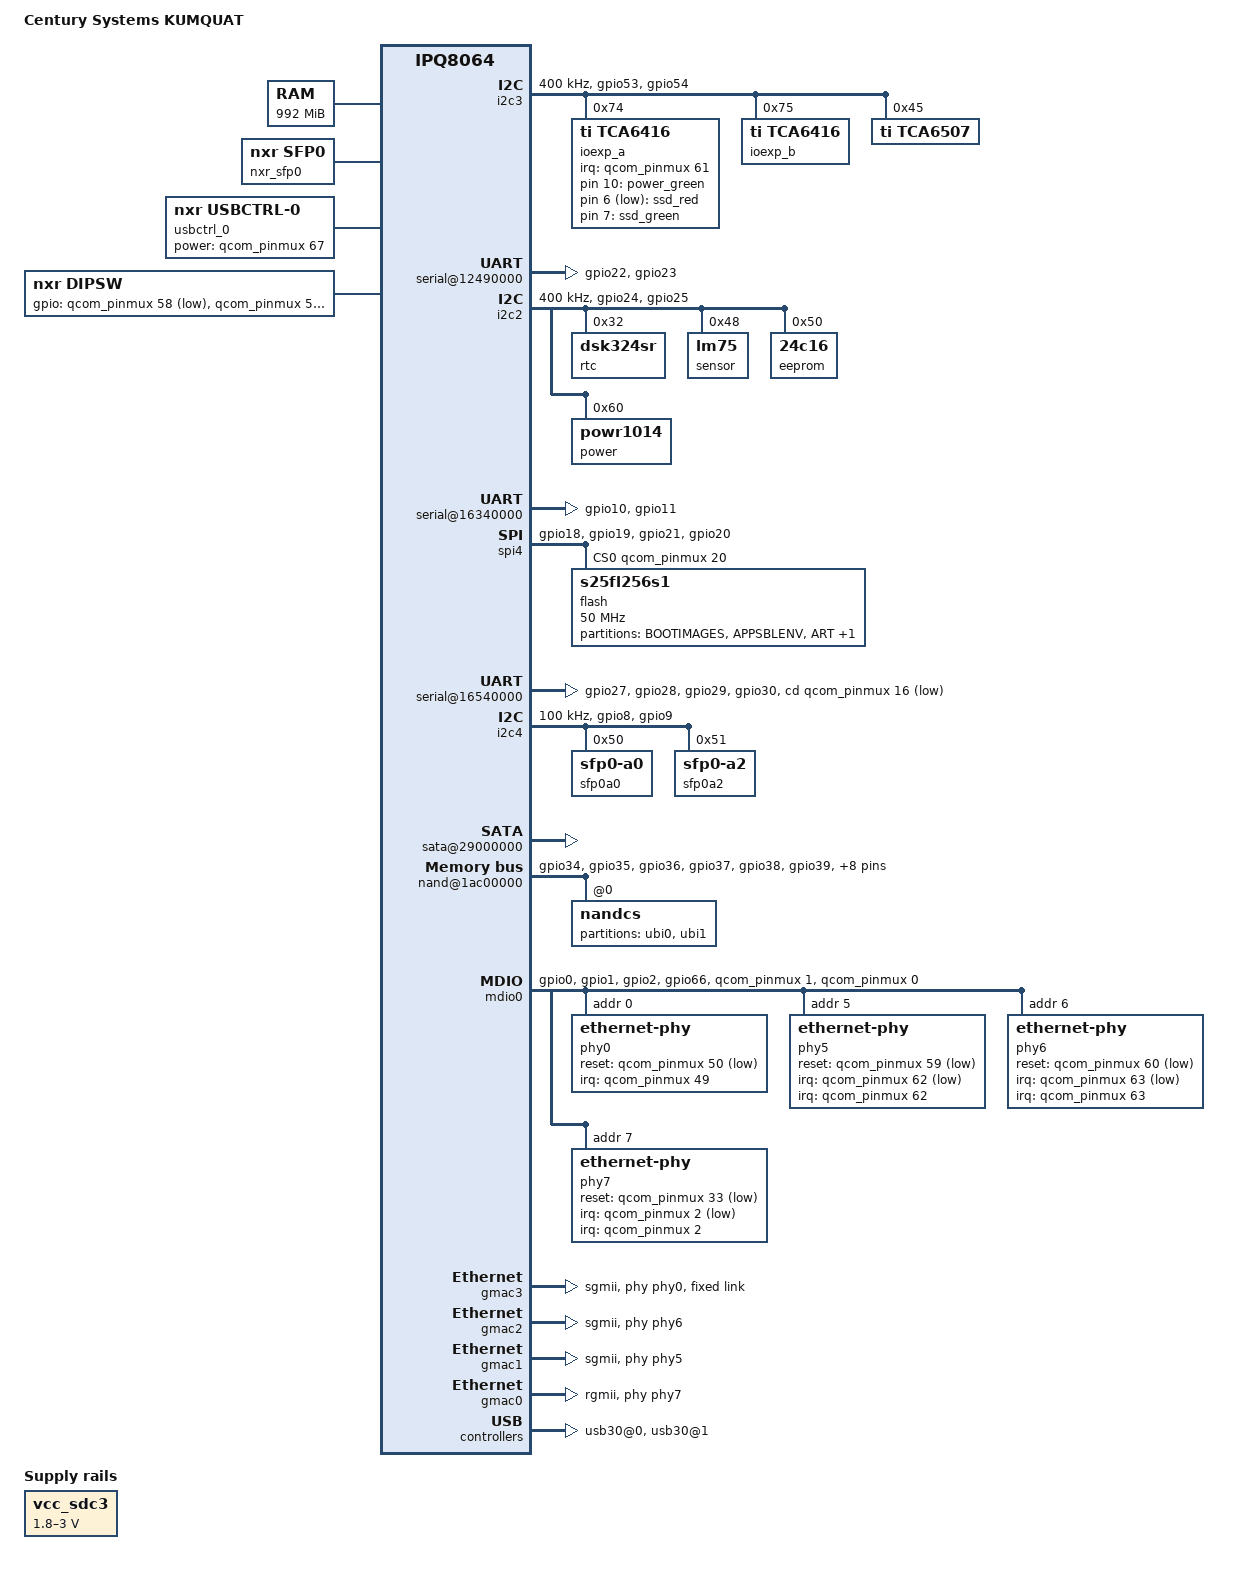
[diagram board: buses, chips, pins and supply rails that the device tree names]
/* Copyright (c) 2015, 2016 The Linux Foundation. All rights reserved.
 *
 * Permission to use, copy, modify, and/or distribute this software for any
 * purpose with or without fee is hereby granted, provided that the above
 * copyright notice and this permission notice appear in all copies.
 *
 * THE SOFTWARE IS PROVIDED "AS IS" AND THE AUTHOR DISCLAIMS ALL WARRANTIES
 * WITH REGARD TO THIS SOFTWARE INCLUDING ALL IMPLIED WARRANTIES OF
 * MERCHANTABILITY AND FITNESS. IN NO EVENT SHALL THE AUTHOR BE LIABLE FOR
 * ANY SPECIAL, DIRECT, INDIRECT, OR CONSEQUENTIAL DAMAGES OR ANY DAMAGES
 * WHATSOEVER RESULTING FROM LOSS OF USE, DATA OR PROFITS, WHETHER IN AN
 * ACTION OF CONTRACT, NEGLIGENCE OR OTHER TORTIOUS ACTION, ARISING OUT OF
 * OR IN CONNECTION WITH THE USE OR PERFORMANCE OF THIS SOFTWARE.
 *
 */
#include <dt-bindings/interrupt-controller/arm-gic.h>
#include <dt-bindings/interrupt-controller/irq.h>
#include <dt-bindings/input/input.h>
#include <dt-bindings/gpio/gpio.h>

/ {
	model = "Century Systems KUMQUAT";
	compatible = "qcom,ipq8064-ap148", "qcom,ipq8064";

	aliases {
		mdio-gpio0 = &mdio0;
		/*
		 * U-Boot searches for these entries and patches
		 * 'local-mac-address'
		 */
		ethernet0 = &gmac3;
		ethernet1 = &gmac2;
		ethernet2 = &gmac1;
		ethernet3 = &gmac0;
	};

	memory@0 {
		reg = <0x42000000 0x3e000000>;
		device_type = "memory";
	};

	reserved-memory {
		#address-cells = <1>;
		#size-cells = <1>;
		ranges;
		rsvd@41200000 {
			reg = <0x41200000 0x300000>;
			no-map;
		};
	};

	soc {
		pinmux@800000 {
			spi_pins: spi_pins {
				mux {
					pins = "gpio18", "gpio19", "gpio21";
					function = "gsbi5";
					drive-strength = <10>;
					bias-none;
				};
				cs {
					pins = "gpio20";
					drive-strength = <12>;
				};
			};

			uart1_pins: uart1_pinmux {
				mux {
					pins = "gpio22", "gpio23";
					function = "gsbi2";
					drive-strength = <2>;
					bias-disable;
				};
			};

			uart2_pins: uart2_pinmux {
				mux {
					pins = "gpio10", "gpio11";
					function = "gsbi4";
					drive-strength = <2>;
					bias-disable;
				};
			};

			uart3_pins: uart3_pinmux {
				mux {
					pins = "gpio27", "gpio28", "gpio29", "gpio30";
					function = "gsbi6";
					drive-strength = <2>;
					bias-disable;
				};
			};

			i2c2_pins: i2c2_pinmux {
				mux {
					pins = "gpio24", "gpio25";
					function = "gsbi2";
					drive-strength = <2>;
					bias-disable;
				};
			};

			i2c3_pins: i2c3_pinmux {
				mux {
					pins = "gpio53", "gpio54";
					function = "gsbi1";
					drive-strength = <2>;
					bias-disable;
				};
			};

			i2c4_pins: i2c4_pinmux {
				mux {
					pins = "gpio8", "gpio9";
					function = "gsbi7";
					drive-strength = <2>;
					bias-disable;
				};
			};

			nand_pins: nand_pins {
				mux {
					pins = "gpio34", "gpio35", "gpio36",
						"gpio37", "gpio38", "gpio39",
						"gpio40", "gpio41", "gpio42",
						"gpio43", "gpio44", "gpio45",
						"gpio46", "gpio47";
					function = "nand";
					drive-strength = <10>;
					bias-disable;
				};
				pullups {
					pins = "gpio39";
					bias-pull-up;
				};
				hold {
					pins = "gpio40", "gpio41", "gpio42",
						"gpio43", "gpio44", "gpio45",
						"gpio46", "gpio47";
					bias-bus-hold;
				};
			};

			buttons_pins: buttons_pins {
				mux {
					pins = "gpio65";
					drive-strength = <2>;
					bias-pull-up;
				};
			};

			mdio0_pins: mdio0_pins {
				mux {
					pins = "gpio0", "gpio1";
					function = "gpio";
					drive-strength = <8>;
					bias-disable;
				};
			};

			mdio1_pins: mdio1_pins {
				mux {
					pins = "gpio2", "gpio66";
					function = "gpio";
					drive-strength = <12>;
					bias-disable;
				};
			};

			sdcc3_pins: sdcc3_pinmux {
				mux {
					pins = "gpio51";
					drive-strength = <2>;
					bias-pull-down;
				};
				card_det {
					pins = "gpio52";
					drive-strength = <16>;
					bias-pull-none;
				};
			};

			usb0_pins: usb0_pins {
				mux {
					pins = "gpio67", "gpio68";
					drive-strength = <2>;
					bias-pull-up;
				};
			};
		};

		gsbi1: gsbi@12440000 {
			qcom,mode = <GSBI_PROT_I2C>;
			status = "ok";

			i2c3: i2c@12460000 {
				status = "ok";

				clock-frequency = <400000>;

				pinctrl-0 = <&i2c3_pins>;
				pinctrl-1 = <&i2c3_pins>;
				pinctrl-names = "i2c_active", "i2c_sleep";

				ioexp_a: tca9539@74 {
					compatible = "ti,tca6416";
					interrupt-parent = <&qcom_pinmux>;
					interrupts = <61 0>;
					interrupt-controller;
					#interrupt-cells = <2>;

					gpio-controller;
					#gpio-cells = <2>;
					reg = <0x74>;
				};

				ioexp_b: tca9539@75 {
					compatible = "ti,tca6416";
					/* disable interrupt
					interrupt-parent = <&qcom_pinmux>;
					interrupts = <64 0>;
					interrupt-controller;
					#interrupt-cells = <2>;
					*/

					gpio-controller;
					#gpio-cells = <2>;
					reg = <0x75>;
				};

				tca6507: tca6507@45 {
			                compatible = "ti,tca6507";
					#address-cells = <1>;
					#size-cells = <0>;
					reg = <0x45>;

					/* LEDs on Main board */
					led0: power-status-red@0 {
						label = "power_red";
						reg = <0x0>;
					};
					led1: system-status1-red@1 {
						label = "status1_red";
						reg = <0x1>;
					};
					led2: system-status2-red@2 {
						label = "status2_red";
						reg = <0x2>;
					};
					led3: system-status3-red@3 {
						label = "status3_red";
						reg = <0x3>;
					};
					led4: system-status1-green@4 {
						label = "status1_green";
						linux,default-trigger = "timer";
						reg = <0x4>;
					};
					led5: system-status2-green@5 {
						label = "status2_green";
						reg = <0x5>;
					};
					led6: system-status3-green@6 {
						label = "status3_green";
						reg = <0x6>;
					};
				};
			};
		};

		gsbi2: gsbi@12480000 {
			qcom,mode = <GSBI_PROT_I2C_UART>;
			status = "ok";
			serial@12490000 {
				status = "ok";
				pinctrl-0 = <&uart1_pins>;
				pinctrl-names = "default";
			};

			i2c2: i2c@124a0000 {
				status = "ok";

				clock-frequency = <400000>;

				pinctrl-0 = <&i2c2_pins>;
				pinctrl-1 = <&i2c2_pins>;
				pinctrl-names = "i2c_active", "i2c_sleep";

				rtc: dsk324sr@32 {
					compatible = "dsk324sr";
					reg = <0x32>;
				};

				sensor: lm75@48 {
					compatible = "lm75";
					reg = <0x48>;
				};

				eeprom: br24c16@50 {
					compatible = "24c16";
					pagesize = <16>;
					reg = <0x50>;
				};

				power: powr1014@60 {
 					compatible = "powr1014";
					reg = <0x60>;
				};
			};
		};

		gsbi4: gsbi@16300000 {
			qcom,mode = <GSBI_PROT_I2C_UART>;
			status = "ok";
			serial@16340000 {
				status = "ok";
				pinctrl-0 = <&uart2_pins>;
				pinctrl-names = "default";
			};
		};

		gsbi5: gsbi@1a200000 {
			qcom,mode = <GSBI_PROT_SPI>;
			status = "ok";

			spi4: spi@1a280000 {
				status = "ok";
				spi-max-frequency = <50000000>;

				pinctrl-0 = <&spi_pins>;
				pinctrl-names = "default";

				cs-gpios = <&qcom_pinmux 20 0>;

				dmas = <&adm_dma 6 9>,
					<&adm_dma 5 10>;
				dma-names = "rx", "tx";

				flash: m25p80@0 {
					compatible = "s25fl256s1";
					#address-cells = <1>;
					#size-cells = <1>;
					spi-max-frequency = <50000000>;
					reg = <0>;
					m25p,fast-read;

					/* MTD partition table */
					partition@0 {
						label = "BOOTIMAGES";
						reg = <0x00000000 0x00320000>;
					};

					partition@1 {
						label = "APPSBLENV";
						reg = <0x00320000 0x00360000>;
					};

					partition@2 {
						label = "ART";
						reg = <0x00360000 0x003a0000>;
					};

					partition@3 {
						label = "oops";
						reg = <0x003a0000 0x005a0000>;
					};
				};
			};
		};

		gsbi6: gsbi@16500000 {
			qcom,mode = <GSBI_PROT_I2C_UART>;
			status = "ok";
			serial@16540000 {
				status = "ok";
				pinctrl-0 = <&uart3_pins>;
				pinctrl-names = "default";

				dtr-gpios = <&qcom_pinmux 31 GPIO_ACTIVE_LOW>;
				dsr-gpios = <&qcom_pinmux 15 GPIO_ACTIVE_LOW>;
				cd-gpios = <&qcom_pinmux 16 GPIO_ACTIVE_LOW>;
				ri-gpios = <&qcom_pinmux 17 GPIO_ACTIVE_LOW>;
			};
		};

		gsbi7: gsbi@16600000 {
			qcom,mode = <GSBI_PROT_I2C>;
			status = "ok";

			i2c4: i2c@16680000 {
				#address-cells = <1>;
				#size-cells = <0>;
				status = "ok";

				clock-frequency = <100000>;

				pinctrl-0 = <&i2c4_pins>;
				pinctrl-names = "default";

				sfp0a0: sfp0@a0 {
					compatible = "sfp0-a0";
					reg = <0x50>;
				};

				sfp0a2: sfp0@a2 {
					compatible = "sfp0-a2";
					reg = <0x51>;
				};
			};
		};

		sata-phy@1b400000 {
			status = "ok";
		};

		sata@29000000 {
			ports-implemented = <0x1>;
			status = "ok";
		};

		nand@1ac00000 {
			status = "ok";

			pinctrl-0 = <&nand_pins>;
			pinctrl-names = "default";

			nandcs@0 {
				nand-ecc-strength = <8>;

				/* MTD partition table */
				partition@0 {
					reg = <0x00000000 0x10000000>;
					label = "ubi0";
				};

				partition@1 {
					reg = <0x10000000 0x06000000>;
					label = "ubi1";
				};
			};
		};

		mdio0: mdio {
			compatible = "virtual,mdio-gpio";
			#address-cells = <1>;
			#size-cells = <0>;
			gpios = <&qcom_pinmux 1 0 &qcom_pinmux 0 0>;

			pinctrl-0 = <&mdio0_pins &mdio1_pins>;
			pinctrl-names = "default";

			phy0: ethernet-phy@0 {
				device_type = "ethernet-phy";
				reg = <0>;
				reset-gpios = <&qcom_pinmux 50 1>;
				qca,ar8327-initvals = <
					0x00004 0x80        /* PAD0_MODE */
					0x000e4 0xaa545     /* MAC_POWER_SEL */
					0x000e0 0xc74164de  /* SGMII_CTRL */
					0x0007c 0x4e        /* PORT0_STATUS */
					>;
				interrupt-parent = <&qcom_pinmux>;
				#interrupt-cells = <2>;
				interrupts = <49 2>;
			};

			phy5: ethernet-phy@5 {
				device_type = "ethernet-phy";
				reg = <5>;
				reset-gpios = <&qcom_pinmux 59 1>;
				interrupt-parent = <&qcom_pinmux>;
				#interrupt-cells = <2>;
				interrupts = <62 2>;
				irq-gpio = <&qcom_pinmux 62 GPIO_ACTIVE_LOW>;
			};

			phy6: ethernet-phy@6 {
				device_type = "ethernet-phy";
				reg = <6>;
				reset-gpios = <&qcom_pinmux 60 1>;
				interrupt-parent = <&qcom_pinmux>;
				#interrupt-cells = <2>;
				interrupts = <63 2>;
				irq-gpio = <&qcom_pinmux 63 GPIO_ACTIVE_LOW>;
			};

			phy7: ethernet-phy@7 {
				device_type = "ethernet-phy";
				reg = <7>;
				reset-gpios = <&qcom_pinmux 33 1>;
				interrupt-parent = <&qcom_pinmux>;
				#interrupt-cells = <2>;
				interrupts = <2 2>;
				irq-gpio = <&qcom_pinmux 2 GPIO_ACTIVE_LOW>;
			};
		};

		vcc_sdc3: regulator@0 {
			compatible = "regulator-gpio";
			regulator-name = "SDC3 GPIO Regulator";
			regulator-min-microvolt = <1800000>;
			regulator-max-microvolt = <3000000>;

			gpios = <&qcom_pinmux 51 0>;
			states = <3000000 0
				1800000 1>;
			enable-active-high;
		};

		amba {
			/* External micro SD card */
			sdcc3: sdcc@12180000 {
				status = "ok";
				pinctrl-0 = <&sdcc3_pins>;
				pinctrl-names = "default";
				vmmc-supply = <&vcc_sdc3>;
				wp-gpios  = <&qcom_pinmux 32 0>;
				cd-gpios  = <&qcom_pinmux 52 0>;
				cd-inverted;
				qcom-uhs-gpio = <51>;
			};
		};

		gmac3: ethernet@37600000 {
			qcom,id = <3>;
			phy-mode = "sgmii";
			phy-handle = <&phy0>;
			local-mac-address = [000000000000];
			status = "ok";

			fixed-link {
				speed = <1000>;
				full-duplex;
			};
		};

		gmac2: ethernet@37400000 {
			qcom,id = <2>;
			phy-mode = "sgmii";
			phy-handle = <&phy6>;
			local-mac-address = [000000000000];
			status = "ok";
		};

		gmac1: ethernet@37200000 {
			qcom,id = <1>;
			phy-mode = "sgmii";
			phy-handle = <&phy5>;
			local-mac-address = [000000000000];
			status = "ok";
		};

		gmac0: ethernet@37000000 {
			qcom,id = <0>;
			phy-mode = "rgmii";
			phy-handle = <&phy7>;
 			local-mac-address = [000000000000];
 			led-sfp-link-gpio = <&ioexp_a 11 GPIO_ACTIVE_LOW>;
			status = "ok";
		};

		phy@100f8800 {
			status = "ok";
		};

		phy@100f8830 {
			status = "ok";
		};

		usb30@0 {
			status = "ok";
		};

		phy@110f8800 {
			status = "ok";
		};

		phy@110f8830 {
			status = "ok";
		};

		usb30@1 {
			status = "ok";
		};
	};

 	nxr_sfp0: nxr_sfp0 {
		compatible = "nxr,sfp0";
		status = "ok";

		sfp,id = <0>;
		sfp-moddef = <&ioexp_a 14 GPIO_ACTIVE_LOW>;
		sfp-tx-disable = <&ioexp_a 13 GPIO_ACTIVE_LOW>;
	};

	leds_system: leds_system {
		compatible = "gpio-leds";
		status = "ok";

		power-status-green@0 {
			label = "power_green";
			gpios = <&ioexp_a 10 GPIO_ACTIVE_HIGH>;
			default-state = "on";
		};
	};

	leds_mobile: leds_mobile {
		compatible = "gpio-leds";
		status = "disabled";

		led@05 {
			label = "mobile_green";
			gpios = <&ioexp_a 5 GPIO_ACTIVE_LOW>;
		};

		led@04 {
			label = "ant_level2_green";
			gpios = <&ioexp_a 4 GPIO_ACTIVE_LOW>;
		};

		led@03 {
			label = "ant_level1_green";
			gpios = <&ioexp_a 3 GPIO_ACTIVE_LOW>;
		};

		led@02 {
			label = "mobile_red";
			gpios = <&ioexp_a 2 GPIO_ACTIVE_LOW>;
			default-state = "on";
		};

		led@01 {
			label = "ant_level2_red";
			gpios = <&ioexp_a 1 GPIO_ACTIVE_LOW>;
		};

		led@00 {
			label = "ant_level1_red";
			gpios = <&ioexp_a 0 GPIO_ACTIVE_LOW>;
		};
	};

	leds_ssd: leds_ssd {
		compatible = "gpio-leds";
		status = "ok";

		led@06 {
			label = "ssd_red";
			gpios = <&ioexp_a 6 GPIO_ACTIVE_LOW>;
		};

		led@07 {
			label = "ssd_green";
			gpios = <&ioexp_a 7 GPIO_ACTIVE_HIGH>;
		};
	};

	/* USB power control */
	usbctrl_0: usbctrl@00 {
		compatible = "nxr,usbctrl-0";
		status = "ok";

		id = <0>;
		power-gpios = <&qcom_pinmux 67 GPIO_ACTIVE_HIGH>;
	};

	usbctrl_1: usbctrl@01 {
		compatible = "nxr,usbctrl-1";
		status = "disabled";

		id = <1>;
		power-gpios = <&ioexp_b 0 GPIO_ACTIVE_HIGH>;
		pwkey-gpios = <&ioexp_b 1 GPIO_ACTIVE_HIGH>;
	};

	dipsw: dipsw {
		compatible = "nxr,dipsw";
		status = "ok";

		gpios = <&qcom_pinmux 58 GPIO_ACTIVE_LOW
			&qcom_pinmux 57 GPIO_ACTIVE_LOW
			&qcom_pinmux 56 GPIO_ACTIVE_LOW
			&qcom_pinmux 55 GPIO_ACTIVE_LOW>;
	};
};

&adm_dma {
	status = "ok";
};
